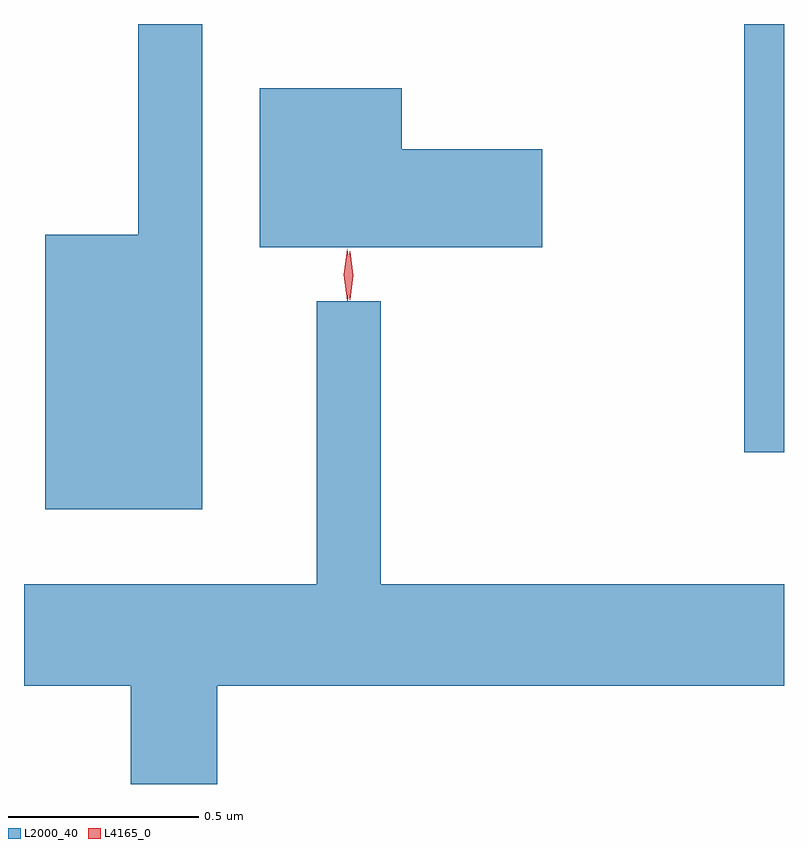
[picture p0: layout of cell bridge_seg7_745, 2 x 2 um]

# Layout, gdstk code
import gdstk
lib = gdstk.Library(unit=1e-6, precision=1e-09)
def R(c, l, rs):  # rectangles x0, y0, x1, y1
    for r in rs: c.add(gdstk.rectangle(r[:2], r[2:], *l))
def P(c, l, *ps):  # polygons
    for p in ps: c.add(gdstk.Polygon(p, *l))
L2000_40 = (2000, 40)
L4165_0 = (4165, 0)

bridge_seg7_745 = lib.new_cell('bridge_seg7_745')
R(bridge_seg7_745, L2000_40, [(524.236,1768.211,524.34,1769.338)])
P(bridge_seg7_745, L2000_40, [(522.809,1769.338),(522.641,1769.338),(522.641,1768.784),(522.396,1768.784),(522.396,1768.061),(522.809,1768.061)],
  [(523.704,1769.009),(523.334,1769.009),(523.334,1769.169),(522.961,1769.169),(522.961,1768.751),(523.704,1768.751)],
  [(522.849,1767.596),(524.34,1767.596),(524.34,1767.864),(523.279,1767.864),(523.279,1768.608),(523.111,1768.608),(523.111,1767.864),(522.34,1767.864),(522.34,1767.596),(522.621,1767.596),(522.621,1767.338),(522.849,1767.338)])
P(bridge_seg7_745, L4165_0, [(523.197,1768.613),(523.197,1768.613),(523.187,1768.676),(523.197,1768.74),(523.197,1768.74),(523.198,1768.74),(523.207,1768.676),(523.198,1768.613)],
  [(523.191,1768.61),(523.181,1768.678),(523.19,1768.745),(523.191,1768.746),(523.191,1768.745),(523.201,1768.678),(523.192,1768.61),(523.192,1768.61)])

lib.write_gds('bridge_seg7_745.gds')
